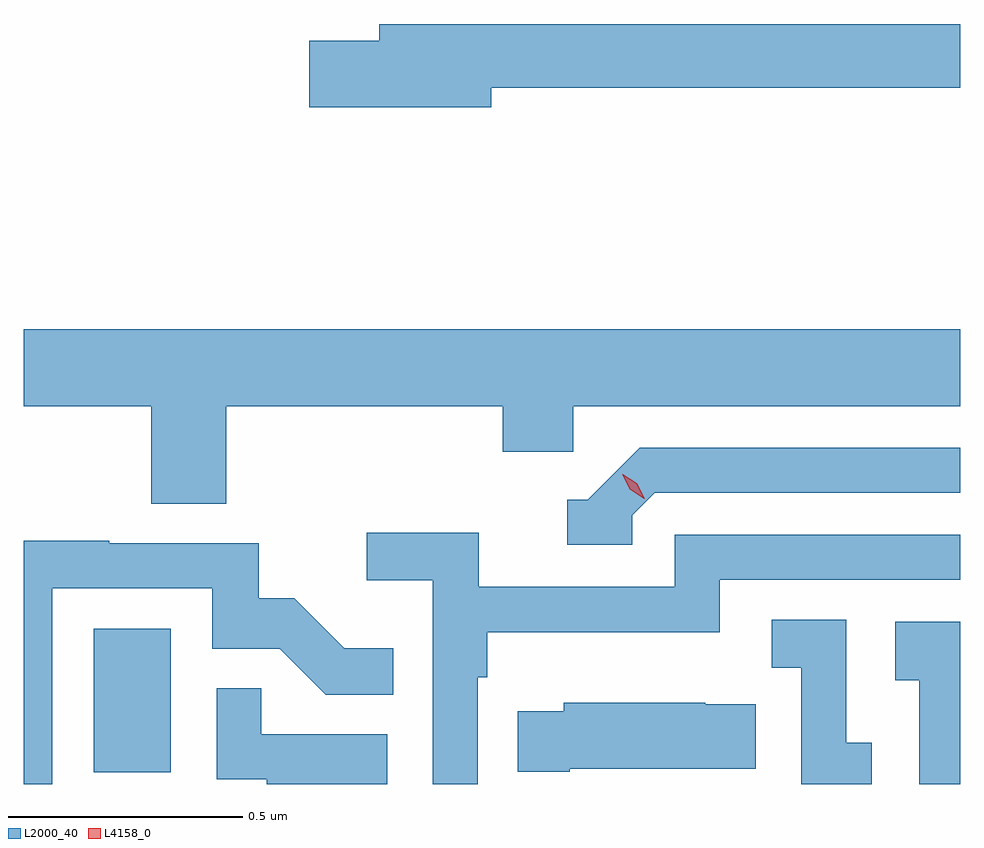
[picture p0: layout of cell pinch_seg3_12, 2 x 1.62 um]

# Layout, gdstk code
import gdstk
lib = gdstk.Library(unit=1e-6, precision=1e-09)
def R(c, l, rs):  # rectangles x0, y0, x1, y1
    for r in rs: c.add(gdstk.rectangle(r[:2], r[2:], *l))
def P(c, l, *ps):  # polygons
    for p in ps: c.add(gdstk.Polygon(p, *l))
L2000_40 = (2000, 40)
L4158_0 = (4158, 0)

pinch_seg3_12 = lib.new_cell('pinch_seg3_12')
R(pinch_seg3_12, L2000_40, [(1124.582,740.094,1124.746,740.401)])
P(pinch_seg3_12, L2000_40, [(1125.43,741.556),(1126.432,741.556),(1126.432,741.692),(1125.191,741.692),(1125.191,741.656),(1125.042,741.656),(1125.042,741.514),(1125.43,741.514)],
  [(1124.864,740.876),(1125.455,740.876),(1125.455,740.778),(1125.606,740.778),(1125.606,740.876),(1126.432,740.876),(1126.432,741.04),(1124.432,741.04),(1124.432,740.876),(1124.704,740.876),(1124.704,740.668),(1124.864,740.668)],
  [(1125.732,740.643),(1125.78,740.691),(1126.432,740.691),(1126.432,740.787),(1125.747,740.787),(1125.636,740.676),(1125.593,740.676),(1125.593,740.58),(1125.732,740.58)],
  [(1125.402,740.297),(1125.422,740.297),(1125.422,740.393),(1125.918,740.393),(1125.918,740.505),(1126.432,740.505),(1126.432,740.601),(1125.822,740.601),(1125.822,740.49),(1125.404,740.49),(1125.404,740.606),(1125.165,740.606),(1125.165,740.504),(1125.306,740.504),(1125.306,740.069),(1125.402,740.069)],
  [(1124.493,740.487),(1124.835,740.487),(1124.835,740.358),(1124.979,740.358),(1125.077,740.26),(1125.221,740.26),(1125.221,740.359),(1125.117,740.359),(1125.01,740.466),(1124.934,740.466),(1124.934,740.583),(1124.615,740.583),(1124.615,740.588),(1124.432,740.588),(1124.432,740.069),(1124.493,740.069)],
  [(1126.243,740.157),(1126.188,740.157),(1126.188,740.42),(1126.029,740.42),(1126.029,740.317),(1126.092,740.317),(1126.092,740.069),(1126.243,740.069)],
  [(1126.432,740.415),(1126.293,740.415),(1126.293,740.291),(1126.344,740.291),(1126.344,740.069),(1126.432,740.069)],
  [(1125.208,740.175),(1124.939,740.175),(1124.939,740.273),(1124.844,740.273),(1124.844,740.079),(1124.951,740.079),(1124.951,740.069),(1125.208,740.069)],
  [(1125.598,740.102),(1125.995,740.102),(1125.995,740.239),(1125.887,740.239),(1125.887,740.242),(1125.585,740.242),(1125.585,740.224),(1125.487,740.224),(1125.487,740.095),(1125.598,740.095)])
P(pinch_seg3_12, L4158_0, [(1125.757,740.678),(1125.726,740.698),(1125.71,740.73),(1125.71,740.731),(1125.711,740.731),(1125.741,740.711),(1125.758,740.678),(1125.758,740.678)])

lib.write_gds('pinch_seg3_12.gds')
